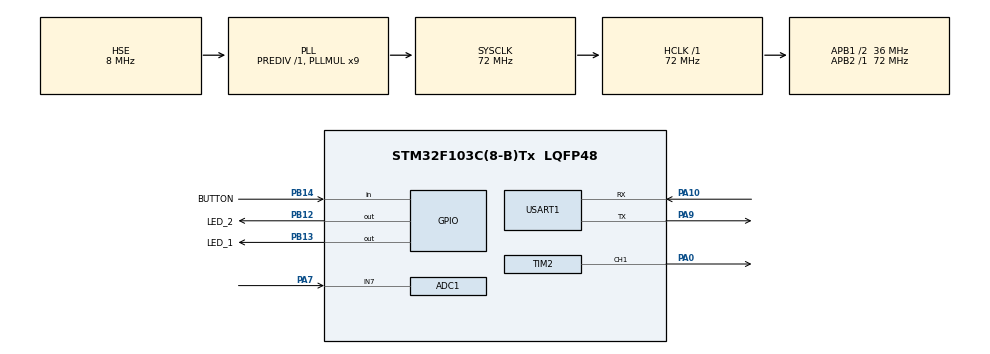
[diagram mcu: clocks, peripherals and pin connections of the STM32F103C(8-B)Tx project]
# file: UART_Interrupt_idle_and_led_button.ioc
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ADC1.Channel-1\#ChannelRegularConversion=ADC_CHANNEL_7
ADC1.NbrOfConversionFlag=1
ADC1.Rank-1\#ChannelRegularConversion=1
ADC1.SamplingTime-1\#ChannelRegularConversion=ADC_SAMPLETIME_1CYCLE_5
ADC1.master=1
Mcu.Family=STM32F1
Mcu.Name=STM32F103C(8-B)Tx
Mcu.Package=LQFP48
NVIC.PriorityGroup=NVIC_PRIORITYGROUP_4
NVIC.USART1_IRQn=true\:0\:0\:false\:false\:true\:true\:true\:true
PA0-WKUP.Signal=S_TIM2_CH1_ETR
PA10.Mode=Asynchronous
PA10.Signal=USART1_RX
PA13.Mode=Serial_Wire
PA13.Signal=SYS_JTMS-SWDIO
PA14.Mode=Serial_Wire
PA14.Signal=SYS_JTCK-SWCLK
PA7.Signal=ADCx_IN7
PA9.Mode=Asynchronous
PA9.Signal=USART1_TX
PB12.GPIO_Label=LED_2
PB12.Signal=GPIO_Output
PB13.GPIO_Label=LED_1
PB13.Signal=GPIO_Output
PB14.GPIO_Label=BUTTON
PB14.Signal=GPIO_Input
PD0-OSC_IN.Mode=HSE-External-Oscillator
PD0-OSC_IN.Signal=RCC_OSC_IN
PD1-OSC_OUT.Mode=HSE-External-Oscillator
PD1-OSC_OUT.Signal=RCC_OSC_OUT
ProjectManager.HeapSize=0x200
ProjectManager.StackSize=0x400
ProjectManager.TargetToolchain=MDK-ARM V5.32
RCC.ADCPresc=RCC_ADCPCLK2_DIV6
RCC.AHBFreq_Value=72000000
RCC.APB1CLKDivider=RCC_HCLK_DIV2
RCC.APB1Freq_Value=36000000
RCC.APB1TimFreq_Value=72000000
RCC.APB2Freq_Value=72000000
RCC.APB2TimFreq_Value=72000000
RCC.HCLKFreq_Value=72000000
RCC.PLLMUL=RCC_PLL_MUL9
RCC.PLLSourceVirtual=RCC_PLLSOURCE_HSE
RCC.SYSCLKFreq_VALUE=72000000
RCC.SYSCLKSource=RCC_SYSCLKSOURCE_PLLCLK
RCC.USBFreq_Value=72000000
SH.ADCx_IN7.0=ADC1_IN7,IN7
SH.S_TIM2_CH1_ETR.0=TIM2_CH1,PWM Generation1 CH1
TIM2.AutoReloadPreload=TIM_AUTORELOAD_PRELOAD_ENABLE
TIM2.Channel-PWM\ Generation1\ CH1=TIM_CHANNEL_1
USART1.VirtualMode=VM_ASYNC
VP_TIM2_VS_ClockSourceINT.Mode=Internal
board=custom

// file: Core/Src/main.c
/* USER CODE BEGIN Header */
/**
  ******************************************************************************
  * @file           : main.c
  * @brief          : Main program body
  ******************************************************************************
  * @attention
  *
  * Copyright (c) 2025 STMicroelectronics.
  * All rights reserved.
  *
  * This software is licensed under terms that can be found in the LICENSE file
  * in the root directory of this software component.
  * If no LICENSE file comes with this software, it is provided AS-IS.
  *
  ******************************************************************************
  */
/* USER CODE END Header */
#include "main.h"

/* USER CODE BEGIN Includes */
#include "com_packet.h"
#include "flash_lib.h"
#include "array_container.h"
#include "string.h"
/* USER CODE END Includes */

/* USER CODE BEGIN PTD */
#define TIM_CLK_HZ   72000000UL
#define MAX_ARR      0xFFFFU
#define MAX_PSC      0xFFFFU
/* USER CODE END PTD */

ADC_HandleTypeDef hadc1;

TIM_HandleTypeDef htim2;

UART_HandleTypeDef huart1;

void SystemClock_Config(void);
static void MX_GPIO_Init(void);
static void MX_USART1_UART_Init(void);
static void MX_ADC1_Init(void);
static void MX_TIM2_Init(void);

/* USER CODE BEGIN 0 */

data_package package;
array_container buffer = {
	.length = 0,
	.max_length=MAX_ARRAY_LENGHT
};

void sendPackage(uint8_t status, data_package* package, array_container* container)
{
	package->operation_code = status;
	if (package->operation_code == 0x2) package->data_length = 0; // If packet about error
	container->length = package_to_buffer(container, package);
	container->length = add_security_symbols(container);
	HAL_UART_Transmit(&huart1, container->array, container->length, 100);
}

void sendErrorPackage(data_package* package, array_container* container)
{
	sendPackage(0x2, package, container);
}

uint8_t analog_sensor(data_package* package, array_container* container)
{
	// something (analog sensor) - 1 byte - chennal ADC, 4 bytes - value
	// In this moment it's button - digital data

//package->data_length = 1;
//package->data[0] = HAL_GPIO_ReadPin (GPIOB, GPIO_PIN_14) ? 0x1 : 0x0;
//sendPackage(0x0, package, uart_buffer, UART_MAX_BUFFER_LENGHT);
	float ADC_value_voltage;
	HAL_ADC_Start(&hadc1);
	HAL_ADC_PollForConversion(&hadc1, 1);
	ADC_value_voltage = (float)HAL_ADC_GetValue(&hadc1) / 4095 * 3.3;

	package->data_length = 5;
	package->data[0] = 1;
	memcpy(&package->data[1], &ADC_value_voltage, 4);
	sendPackage(0x0, package, container);
	return OK;
}

uint8_t led_manage(data_package* package, array_container* container)
{
	// manage led
	if (isNormalLenghtPackage(package, 1) == ERROR)
	{
		sendErrorPackage(package, container);
		return ERROR;
	}

	package->data[0] > 0x0 ? HAL_GPIO_WritePin(GPIOB, LED_1_Pin, GPIO_PIN_SET) : HAL_GPIO_WritePin(GPIOB, LED_1_Pin, GPIO_PIN_RESET);
	package->data_length = 0;
	sendPackage(0x0, package, container);
	return OK;
}

uint8_t led_blink(data_package* package, array_container* container)
{
    if (isNormalLenghtPackage(package, 3) == ERROR) {
        sendErrorPackage(package, container);
        return ERROR;
    }

    uint8_t  duty     = package->data[0];
    uint16_t freq_hz  = package->data[1] << 8 | package->data[2];
    if (freq_hz == 0) freq_hz = 1;

    uint32_t min_psc = TIM_CLK_HZ / ((uint32_t)freq_hz * (MAX_ARR + 1));
    if (min_psc > MAX_PSC) min_psc = MAX_PSC;
    TIM2->PSC = (uint16_t)min_psc;

    uint32_t arr = TIM_CLK_HZ / ((TIM2->PSC + 1) * (uint32_t)freq_hz) - 1;
    if (arr > MAX_ARR) arr = MAX_ARR;
    TIM2->ARR = (uint16_t)arr;

    uint32_t ccr = ((uint32_t)duty * (arr + 1)) / 100;
    TIM2->CCR1 = (uint16_t)ccr;

    TIM2->EGR = TIM_EGR_UG;

    package->data_length = 0;
    sendPackage(0x0, package, container);
    return OK;
}

uint8_t reset(data_package* package, array_container* container)
{
	// reset
	package->data_length = 0;
	sendPackage(0x0, package, container);
	HAL_NVIC_SystemReset();
	return OK;
}

uint8_t flash_handler(data_package* package, array_container* container)
{
	// read/write to flash
	uint32_t address;
	uint32_t data;

	switch (package->operation_code)
	{
		case 0x1:
			if (isNormalLenghtPackage(package, 8) == ERROR)
			{
				sendErrorPackage(package, container);
				return ERROR;
			}

			//address = 0x0801F800;
			memcpy(&address, &(package->data[0]), sizeof(uint32_t));
			memcpy(&data, &(package->data[4]), sizeof(uint32_t));
			address = __REV(address); //reverse address (big-endian to little-endian address)

			if (writeFlash(address, data) == HAL_OK)
			{
				package->data_length = 0;
				sendPackage(0x0, package, container);
				return OK;
			} else
			{
				sendErrorPackage(package, container);
				return ERROR;
			}
			break;

		case 0x2:
			if (isNormalLenghtPackage(package, 4) == ERROR)
			{
				sendErrorPackage(package, container);
				return ERROR;
			}

			memcpy(&address, &(package->data[0]), sizeof(uint32_t));
			address = __REV(address); //reverse address (big-endian to little-endian address)
			//address = 0x0801F800;
			data = readFlash(address);

			memcpy(&(package->data[4]), &data, sizeof(uint32_t));
			package->data_length = 8;
			sendPackage(0x0, package, container);
			return OK;
			break;

		default:
			sendErrorPackage(package, container);
			return ERROR;
	}
}

uint8_t mirror_massage_back(data_package* package, array_container* container)
{
	// Sends an unchanged message back
	sendPackage(package->operation_code, package, container);
	return OK;
}

uint8_t execute_package(data_package* package, array_container* container)
{
	switch (package->object_code)
	{
		case 0x1:
			return analog_sensor(package, container);

		case 0x2:
			return led_manage(package, container);

		case 0x3:
			return led_blink(package, container);

		case 0x4:
			return reset(package, container);

		case 0x5:
			return flash_handler(package, container);

		case 0x6:
			return mirror_massage_back(package, container);

		default:
			return ERROR;
	}
}

void HAL_UARTEx_RxEventCallback(UART_HandleTypeDef *huart, uint16_t Size)
{
  buffer.length = Size;
	buffer.length = remove_security_symbols(&buffer);
	buffer_to_package(&buffer, &package);
	execute_package(&package, &buffer);

  HAL_UARTEx_ReceiveToIdle_IT(&huart1, buffer.array, buffer.max_length);
}
/* USER CODE END 0 */

int main(void)
{

  /* MCU Configuration--------------------------------------------------------*/

  /* Reset of all peripherals, Initializes the Flash interface and the Systick. */
  HAL_Init();

  /* Configure the system clock */
  SystemClock_Config();

  /* Initialize all configured peripherals */
  MX_GPIO_Init();
  MX_USART1_UART_Init();
  MX_ADC1_Init();
  MX_TIM2_Init();
  /* USER CODE BEGIN 2 */
	HAL_UARTEx_ReceiveToIdle_IT(&huart1, buffer.array, buffer.max_length);
	HAL_TIM_PWM_Start(&htim2, TIM_CHANNEL_1);
	HAL_ADCEx_Calibration_Start(&hadc1);
  /* USER CODE END 2 */

  /* Infinite loop */
  while (1)
  {

  }
}

void SystemClock_Config(void)
{
  RCC_OscInitTypeDef RCC_OscInitStruct = {0};
  RCC_ClkInitTypeDef RCC_ClkInitStruct = {0};
  RCC_PeriphCLKInitTypeDef PeriphClkInit = {0};

  /** Initializes the RCC Oscillators according to the specified parameters
  * in the RCC_OscInitTypeDef structure.
  */
  RCC_OscInitStruct.OscillatorType = RCC_OSCILLATORTYPE_HSE;
  RCC_OscInitStruct.HSEState = RCC_HSE_ON;
  RCC_OscInitStruct.HSEPredivValue = RCC_HSE_PREDIV_DIV1;
  RCC_OscInitStruct.HSIState = RCC_HSI_ON;
  RCC_OscInitStruct.PLL.PLLState = RCC_PLL_ON;
  RCC_OscInitStruct.PLL.PLLSource = RCC_PLLSOURCE_HSE;
  RCC_OscInitStruct.PLL.PLLMUL = RCC_PLL_MUL9;
  if (HAL_RCC_OscConfig(&RCC_OscInitStruct) != HAL_OK)
  {
    Error_Handler();
  }

  /** Initializes the CPU, AHB and APB buses clocks
  */
  RCC_ClkInitStruct.ClockType = RCC_CLOCKTYPE_HCLK|RCC_CLOCKTYPE_SYSCLK
                              |RCC_CLOCKTYPE_PCLK1|RCC_CLOCKTYPE_PCLK2;
  RCC_ClkInitStruct.SYSCLKSource = RCC_SYSCLKSOURCE_PLLCLK;
  RCC_ClkInitStruct.AHBCLKDivider = RCC_SYSCLK_DIV1;
  RCC_ClkInitStruct.APB1CLKDivider = RCC_HCLK_DIV2;
  RCC_ClkInitStruct.APB2CLKDivider = RCC_HCLK_DIV1;

  if (HAL_RCC_ClockConfig(&RCC_ClkInitStruct, FLASH_LATENCY_2) != HAL_OK)
  {
    Error_Handler();
  }
  PeriphClkInit.PeriphClockSelection = RCC_PERIPHCLK_ADC;
  PeriphClkInit.AdcClockSelection = RCC_ADCPCLK2_DIV6;
  if (HAL_RCCEx_PeriphCLKConfig(&PeriphClkInit) != HAL_OK)
  {
    Error_Handler();
  }
}

static void MX_ADC1_Init(void)
{

  ADC_ChannelConfTypeDef sConfig = {0};

  /** Common config
  */
  hadc1.Instance = ADC1;
  hadc1.Init.ScanConvMode = ADC_SCAN_DISABLE;
  hadc1.Init.ContinuousConvMode = DISABLE;
  hadc1.Init.DiscontinuousConvMode = DISABLE;
  hadc1.Init.ExternalTrigConv = ADC_SOFTWARE_START;
  hadc1.Init.DataAlign = ADC_DATAALIGN_RIGHT;
  hadc1.Init.NbrOfConversion = 1;
  if (HAL_ADC_Init(&hadc1) != HAL_OK)
  {
    Error_Handler();
  }

  /** Configure Regular Channel
  */
  sConfig.Channel = ADC_CHANNEL_7;
  sConfig.Rank = ADC_REGULAR_RANK_1;
  sConfig.SamplingTime = ADC_SAMPLETIME_1CYCLE_5;
  if (HAL_ADC_ConfigChannel(&hadc1, &sConfig) != HAL_OK)
  {
    Error_Handler();
  }

}

static void MX_TIM2_Init(void)
{

  TIM_ClockConfigTypeDef sClockSourceConfig = {0};
  TIM_MasterConfigTypeDef sMasterConfig = {0};
  TIM_OC_InitTypeDef sConfigOC = {0};

  htim2.Instance = TIM2;
  htim2.Init.Prescaler = 0;
  htim2.Init.CounterMode = TIM_COUNTERMODE_UP;
  htim2.Init.Period = 65535;
  htim2.Init.ClockDivision = TIM_CLOCKDIVISION_DIV1;
  htim2.Init.AutoReloadPreload = TIM_AUTORELOAD_PRELOAD_ENABLE;
  if (HAL_TIM_Base_Init(&htim2) != HAL_OK)
  {
    Error_Handler();
  }
  sClockSourceConfig.ClockSource = TIM_CLOCKSOURCE_INTERNAL;
  if (HAL_TIM_ConfigClockSource(&htim2, &sClockSourceConfig) != HAL_OK)
  {
    Error_Handler();
  }
  if (HAL_TIM_PWM_Init(&htim2) != HAL_OK)
  {
    Error_Handler();
  }
  sMasterConfig.MasterOutputTrigger = TIM_TRGO_RESET;
  sMasterConfig.MasterSlaveMode = TIM_MASTERSLAVEMODE_DISABLE;
  if (HAL_TIMEx_MasterConfigSynchronization(&htim2, &sMasterConfig) != HAL_OK)
  {
    Error_Handler();
  }
  sConfigOC.OCMode = TIM_OCMODE_PWM1;
  sConfigOC.Pulse = 0;
  sConfigOC.OCPolarity = TIM_OCPOLARITY_HIGH;
  sConfigOC.OCFastMode = TIM_OCFAST_DISABLE;
  if (HAL_TIM_PWM_ConfigChannel(&htim2, &sConfigOC, TIM_CHANNEL_1) != HAL_OK)
  {
    Error_Handler();
  }
  HAL_TIM_MspPostInit(&htim2);

}

static void MX_USART1_UART_Init(void)
{

  huart1.Instance = USART1;
  huart1.Init.BaudRate = 115200;
  huart1.Init.WordLength = UART_WORDLENGTH_8B;
  huart1.Init.StopBits = UART_STOPBITS_1;
  huart1.Init.Parity = UART_PARITY_NONE;
  huart1.Init.Mode = UART_MODE_TX_RX;
  huart1.Init.HwFlowCtl = UART_HWCONTROL_NONE;
  huart1.Init.OverSampling = UART_OVERSAMPLING_16;
  if (HAL_UART_Init(&huart1) != HAL_OK)
  {
    Error_Handler();
  }

}

static void MX_GPIO_Init(void)
{
  GPIO_InitTypeDef GPIO_InitStruct = {0};

  /* GPIO Ports Clock Enable */
  __HAL_RCC_GPIOD_CLK_ENABLE();
  __HAL_RCC_GPIOA_CLK_ENABLE();
  __HAL_RCC_GPIOB_CLK_ENABLE();

  /*Configure GPIO pin Output Level */
  HAL_GPIO_WritePin(GPIOB, LED_2_Pin|LED_1_Pin, GPIO_PIN_RESET);

  /*Configure GPIO pins : LED_2_Pin LED_1_Pin */
  GPIO_InitStruct.Pin = LED_2_Pin|LED_1_Pin;
  GPIO_InitStruct.Mode = GPIO_MODE_OUTPUT_PP;
  GPIO_InitStruct.Pull = GPIO_NOPULL;
  GPIO_InitStruct.Speed = GPIO_SPEED_FREQ_LOW;
  HAL_GPIO_Init(GPIOB, &GPIO_InitStruct);

  /*Configure GPIO pin : BUTTON_Pin */
  GPIO_InitStruct.Pin = BUTTON_Pin;
  GPIO_InitStruct.Mode = GPIO_MODE_INPUT;
  GPIO_InitStruct.Pull = GPIO_NOPULL;
  HAL_GPIO_Init(BUTTON_GPIO_Port, &GPIO_InitStruct);

}

void Error_Handler(void)
{
  __disable_irq();
  while (1)
  {
  }
}
